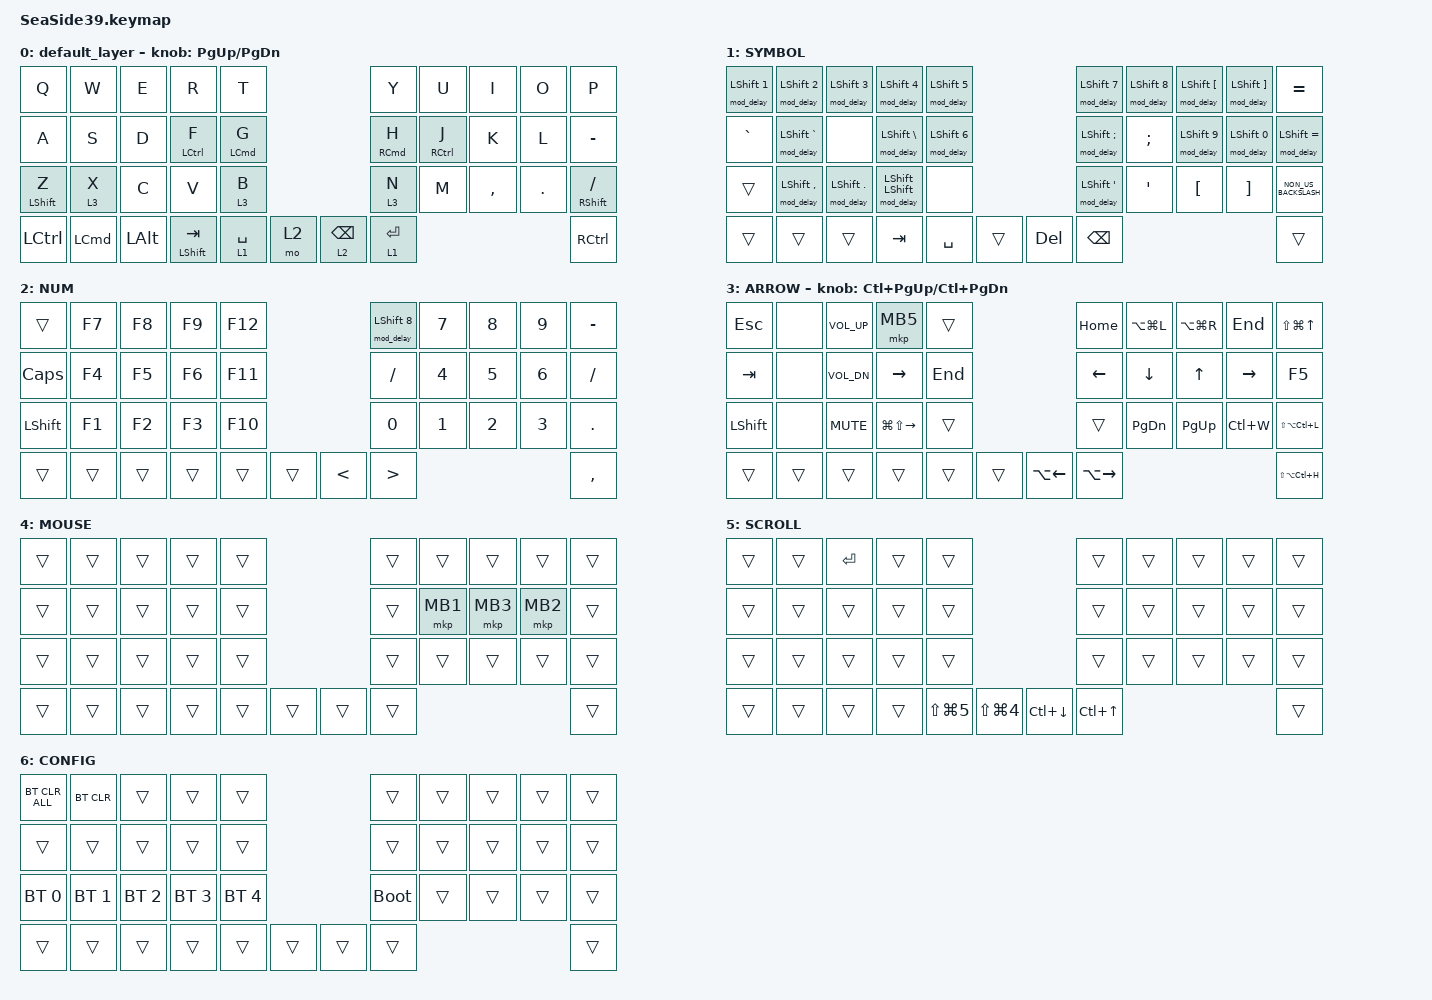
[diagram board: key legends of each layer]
#include <behaviors.dtsi>
#include <dt-bindings/zmk/bt.h>
#include <dt-bindings/zmk/keys.h>
#include <dt-bindings/zmk/pointing.h>

#define MOUSE 4
#define SCROLL 5
#define NUM 6

&mt {
    flavor = "balanced";
    quick-tap-ms = <0>;
    tapping-term-ms = <150>;
    retro-tap;
};

&lt {
    flavor = "balanced";
    quick-tap-ms = <0>;
    retro-tap;
    tapping-term-ms = <150>;
};

/ {
    combos {
        compatible = "zmk,combos";

        chg_lang {
            bindings = <&chg_lang>;
            key-positions = <16 17>;
        };

        left_button {
            bindings = <&mkp MB1>;
            key-positions = <26 27>;
        };

        right_button {
            bindings = <&mkp RCLK>;
            key-positions = <27 28>;
        };

        scroll {
            bindings = <&mo 5>;
            key-positions = <26 28>;
        };

        esc {
            bindings = <&kp ESCAPE>;
            key-positions = <0 1>;
        };

        layer6 {
            bindings = <&mo 6>;
            key-positions = <9 8 7 6>;
        };

        mb3 {
            bindings = <&mkp MB3>;
            key-positions = <29 27>;
        };
    };

    macros {
        to_layer_0: to_layer_0 {
            compatible = "zmk,behavior-macro-one-param";
            #binding-cells = <1>;
            bindings =
                <&to 0 &macro_param_1to1 &kp MACRO_PLACEHOLDER>,
                <&macro_press>;

            label = "TO_LAYER_0";
        };

        chg_lang: chg_lang {
            compatible = "zmk,behavior-macro";
            #binding-cells = <0>;
            bindings =
                <&macro_press>,
                <&kp LALT>,
                <&macro_wait_time 50>,
                <&macro_tap>,
                <&kp GRAVE>,
                <&macro_release>,
                <&kp LALT>;

            label = "CHG_LANG";
        };

        mod_delay: mod_delay {
            compatible = "zmk,behavior-macro-two-param";
            #binding-cells = <2>;
            bindings =
                <&macro_press>,
                <&macro_param_1to1 &kp MACRO_PLACEHOLDER>,
                <&macro_wait_time 50>,
                <&macro_tap>,
                <&macro_param_2to1 &kp MACRO_PLACEHOLDER>,
                <&macro_release>,
                <&macro_param_1to1 &kp MACRO_PLACEHOLDER>;

            label = "MOD_DELAY";
        };
    };

    behaviors {
        lt_to_layer_0: lt_to_layer_0 {
            compatible = "zmk,behavior-hold-tap";
            label = "LAYER_TAP_TO_0";
            bindings = <&mo>, <&to_layer_0>;

            #binding-cells = <2>;
            tapping-term-ms = <200>;
        };

        layer_mousekp: layer_mousekp {
            compatible = "zmk,behavior-hold-tap";
            label = "LAYER_MOUSEKP";
            bindings = <&mo>, <&mkp>;

            #binding-cells = <2>;
            tapping-term-ms = <200>;
        };
    };

    keymap {
        compatible = "zmk,keymap";

        default_layer {
            bindings = <
&kp Q             &kp W     &kp E         &kp R               &kp T                                    &kp Y        &kp U        &kp I      &kp O       &kp P
&kp A             &kp S     &kp D         &mt LCTRL F         &mt LCMD G                               &mt RCMD H   &mt RCTRL J  &kp K      &kp L       &kp MINUS
&mt LEFT_SHIFT Z  &lt 3 X   &kp C         &kp V               &lt 3 B                                  &lt 3 N      &kp M        &kp COMMA  &kp PERIOD  &mt RSHIFT SLASH
&kp LCTRL         &kp LCMD  &kp LEFT_ALT  &mt LEFT_SHIFT TAB  &lt 1 SPACE  &mo 2      &lt 2 BACKSPACE  &lt 1 ENTER                                      &kp RCTRL
            >;

            sensor-bindings = <&inc_dec_kp PG_UP PAGE_DOWN>;
        };

        SYMBOL {
            bindings = <
&mod_delay LEFT_SHIFT NUMBER_1  &mod_delay LEFT_SHIFT NUMBER_2  &mod_delay LEFT_SHIFT NUMBER_3  &mod_delay LEFT_SHIFT NUMBER_4    &mod_delay LEFT_SHIFT N5                                &mod_delay LEFT_SHIFT N7         &mod_delay LEFT_SHIFT N8  &mod_delay LEFT_SHIFT LEFT_BRACKET  &mod_delay LEFT_SHIFT RIGHT_BRACKET  &kp EQUAL
&kp GRAVE                       &mod_delay LEFT_SHIFT GRAVE     &none                           &mod_delay LEFT_SHIFT BACKSLASH   &mod_delay LEFT_SHIFT NUMBER_6                          &mod_delay LEFT_SHIFT SEMICOLON  &kp SEMICOLON             &mod_delay LEFT_SHIFT N9            &mod_delay LEFT_SHIFT N0             &mod_delay LEFT_SHIFT EQUAL
&trans                          &mod_delay LEFT_SHIFT COMMA     &mod_delay LEFT_SHIFT PERIOD    &mod_delay LEFT_SHIFT LEFT_SHIFT  &none                                                   &mod_delay LEFT_SHIFT SQT        &kp SQT                   &kp LEFT_BRACKET                    &kp RIGHT_BRACKET                    &kp NON_US_BACKSLASH
&trans                          &trans                          &trans                          &kp TAB                           &kp SPACE                       &trans      &kp DELETE  &kp BACKSPACE                                                                                                                       &trans
            >;
        };

        NUM {
            bindings = <
&trans          &kp F7  &kp F8  &kp F9  &kp F12                             &mod_delay LEFT_SHIFT N8  &kp N7  &kp N8        &kp N9  &kp MINUS
&kp CAPSLOCK    &kp F4  &kp F5  &kp F6  &kp F11                             &kp SLASH                 &kp N4  &kp NUMBER_5  &kp N6  &kp SLASH
&kp LEFT_SHIFT  &kp F1  &kp F2  &kp F3  &kp F10                             &kp N0                    &kp N1  &kp N2        &kp N3  &kp PERIOD
&trans          &trans  &trans  &trans  &trans   &trans      &kp LESS_THAN  &kp GREATER_THAN                                        &kp COMMA
            >;
        };

        ARROW {
            bindings = <
&kp ESCAPE      &none   &kp C_VOLUME_UP  &mkp MB5                 &trans                             &kp HOME       &kp LA(LG(L))  &kp LA(LG(R))  &kp END          &kp LS(LG(UP_ARROW))
&kp TAB         &none   &kp C_VOL_DN     &kp RIGHT_ARROW          &kp END                            &kp LEFT       &kp DOWN       &kp UP_ARROW   &kp RIGHT_ARROW  &kp F5
&kp LEFT_SHIFT  &none   &kp C_MUTE       &kp LG(LS(RIGHT_ARROW))  &trans                             &trans         &kp PAGE_DOWN  &kp PAGE_UP    &kp LC(W)        &kp LS(LA(LC(L)))
&trans          &trans  &trans           &trans                   &trans   &trans      &kp LA(LEFT)  &kp LA(RIGHT)                                                 &kp LS(LA(LC(H)))
            >;

            sensor-bindings = <&inc_dec_kp LC(PAGE_UP) LC(PAGE_DOWN)>;
        };

        MOUSE {
            bindings = <
&trans  &trans  &trans  &trans  &trans                      &trans  &trans    &trans    &trans    &trans
&trans  &trans  &trans  &trans  &trans                      &trans  &mkp MB1  &mkp MB3  &mkp MB2  &trans
&trans  &trans  &trans  &trans  &trans                      &trans  &trans    &trans    &trans    &trans
&trans  &trans  &trans  &trans  &trans  &trans      &trans  &trans                                &trans
            >;
        };

        SCROLL {
            bindings = <
&trans  &trans  &kp ENTER  &trans  &trans                                            &trans            &trans  &trans  &trans  &trans
&trans  &trans  &trans     &trans  &trans                                            &trans            &trans  &trans  &trans  &trans
&trans  &trans  &trans     &trans  &trans                                            &trans            &trans  &trans  &trans  &trans
&trans  &trans  &trans     &trans  &kp LS(LG(N5))  &kp LS(LG(N4))      &kp LC(DOWN)  &kp LC(UP_ARROW)                          &trans
            >;
        };

        CONFIG {
            bindings = <
&bt BT_CLR_ALL  &bt BT_CLR    &trans        &trans        &trans                            &trans       &trans  &trans  &trans  &trans
&trans          &trans        &trans        &trans        &trans                            &trans       &trans  &trans  &trans  &trans
&bt BT_SEL 0    &bt BT_SEL 1  &bt BT_SEL 2  &bt BT_SEL 3  &bt BT_SEL 4                      &bootloader  &trans  &trans  &trans  &trans
&trans          &trans        &trans        &trans        &trans        &trans      &trans  &trans                               &trans
            >;
        };
    };
};
